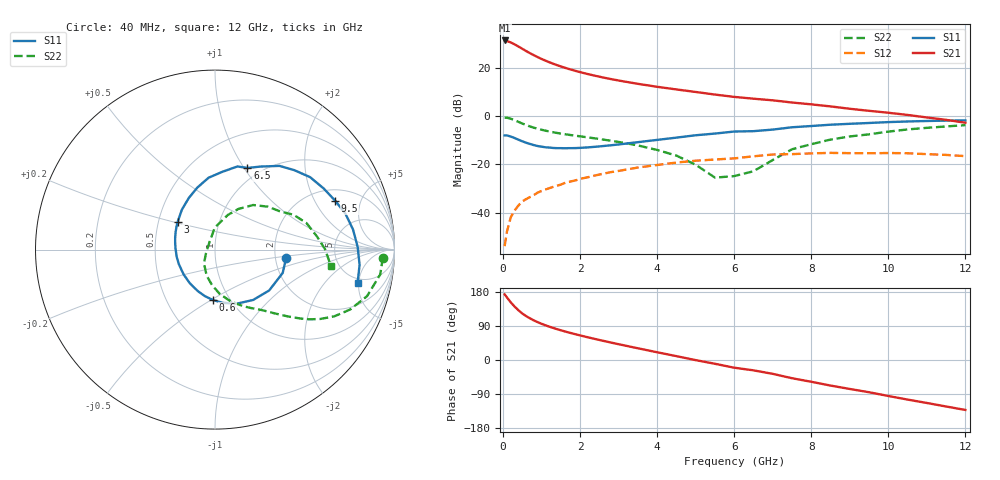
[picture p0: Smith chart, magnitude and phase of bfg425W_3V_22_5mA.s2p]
! Filename: 322bfg425.001
! BFG425W Field C1
! V1=8.513E-001V,V2=3.000E+000V, I1=2.993E-004A, I2=2.254E-002A
# GHz  S  MA  R 50
!  S11  S21  S12  S22
!Freq(GHz)  Mag  Ang  Mag  Ang  Mag  Ang  Mag  Ang
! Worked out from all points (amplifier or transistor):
!   44 points, 40 MHz to 12 GHz, reference 50 ohm
!   highest |S21| = 31.5 dB at 40 MHz (marker M1)
!   |S21| within 3 dB of that: start of sweep to 450.3 MHz
!   unconditionally stable (mu >= 1): 1.276 GHz to end of sweep
!   at 700 MHz: K = 0.78, MSG = 29.9 dB, |S12| = -33.6 dB
!   at 2.4 GHz: K = 1.15, MAG = 18.3 dB, |S12| = -24.6 dB
!   at 12 GHz: K = 1.34, MAG = 3.4 dB, |S12| = -16.6 dB
!   S11 on the Smith chart (normalised r, x): 40 MHz: 2.29, -0.26; 600 MHz: 0.83, -0.51; 3 GHz: 0.63, +0.21; 6.5 GHz: 0.87, +1.03; 9.5 GHz: 2.61, +2.97; 12 GHz: 4.33, -4.84
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0.04  0.399 -6.8  37.39 173.3  0.002 76.2  0.936 -2.7
0.1  0.399 -19.0  36.34 165.2  0.004 82.2  0.931 -8.6
0.2  0.378 -37.0  34.04 152.1  0.008 76.0  0.886 -17.0
0.3  0.352 -52.9  31.03 140.9  0.011 72.0  0.824 -23.9
0.4  0.325 -67.9  27.95 131.2  0.014 68.1  0.762 -29.2
0.5  0.301 -81.2  25.09 122.6  0.017 65.8  0.704 -33.3
0.6  0.281 -92.5  22.51 115.7  0.019 64.1  0.655 -36.4
0.7  0.265 -102.4  20.32 109.8  0.021 62.9  0.612 -38.9
0.8  0.251 -111.9  18.44 104.4  0.023 62.0  0.577 -40.9
0.9  0.24 -120.1  16.83 99.7  0.026 61.3  0.548 -42.7
1  0.233 -127.8  15.44 95.5  0.028 60.6  0.523 -44.3
1.2  0.223 -141.2  13.21 88.0  0.032 59.3  0.482 -47.3
1.6  0.216 -163.6  10.17 75.5  0.041 56.5  0.423 -52.6
2.2  0.225 170.5  7.5 60.0  0.054 50.9  0.363 -61.5
3  0.259 143.6  5.505 41.7  0.073 41.5  0.292 -74.7
4.5  0.359 106.0  3.594 10.2  0.109 19.9  0.152 -107.9
5.5  0.436 84.4  2.813 -10.0  0.126 4.2  0.053 -159.4
6.5  0.489 68.4  2.31 -27.3  0.147 -8.1  0.072 106.6
8.5  0.666 37.3  1.596 -67.5  0.173 -45.2  0.327 49.5
9.5  0.723 22.1  1.293 -85.1  0.17 -61.8  0.42 30.5
10.5  0.777 8.3  1.063 -104.5  0.17 -80.4  0.531 16.1
12  0.816 -13.2  0.732 -131.8  0.148 -110.3  0.652 -8.0
